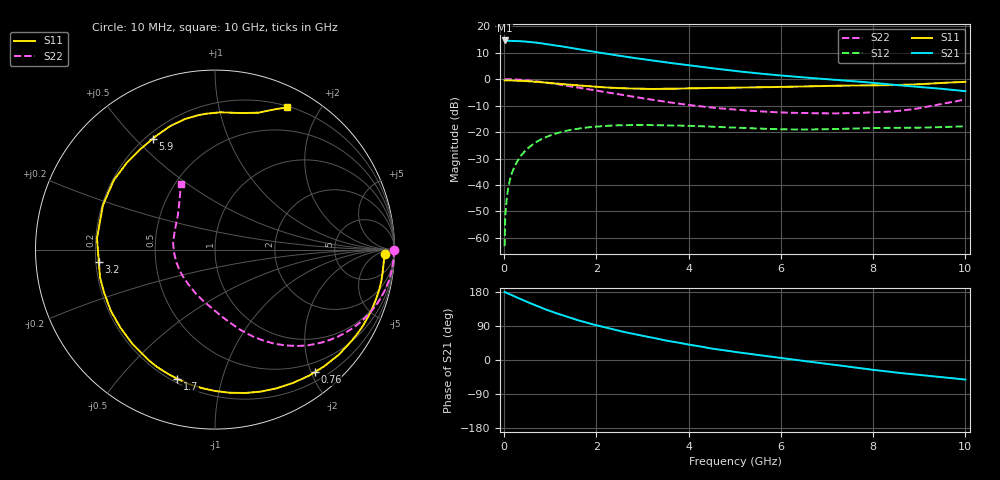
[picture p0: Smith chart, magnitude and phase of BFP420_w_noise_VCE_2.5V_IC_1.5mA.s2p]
! Infineon Technologies  Discrete & RF Semiconductors
! BFP420
! VCE =  2.5 V,  IC =  1.5 mA
! Common Emitter S-Parameters:  Jan 2016
# GHz  S  MA  R  50
!  f  S11  S21  S12  S22
! GHz  MAG  ANG  MAG  ANG  MAG  ANG  MAG  ANG
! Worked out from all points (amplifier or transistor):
!   233 points, 10 MHz to 10 GHz, reference 50 ohm
!   highest |S21| = 14.6 dB at 10 MHz (marker M1)
!   |S21| within 3 dB of that: start of sweep to 1.513 GHz
!   unconditionally stable (mu >= 1): 4.126 GHz to end of sweep
!   at 200 MHz: K = 0.02, MSG = 24.3 dB, |S12| = -34.1 dB
!   at 1.74 GHz: K = 0.32, MSG = 14.7 dB, |S12| = -18.4 dB
!   at 10 GHz: K = 1.27, MAG = 3.5 dB, |S12| = -17.8 dB
!   lowest NFmin = 0.52 dB at 900 MHz
!   S11 on the Smith chart (normalised r, x): 10 MHz: 29, -14; 760 MHz: 0.34, -2.06; 1.7 GHz: 0.22, -0.73; 3.2 GHz: 0.21, -0.05; 5.9 GHz: 0.23, +0.56; 10 GHz: 0.21, +1.61
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0.01  0.9458 -1.5  5.376 179.3  0.0007 103.2  0.9963 0.0
0.02  0.948 -1.2  5.224 179.2  0.002 89.5  0.9964 -0.7
0.05  0.9434 -3.2  5.256 177.3  0.0049 87.1  0.9965 -1.9
0.165  0.9428 -11.1  5.283 171.2  0.0164 83.3  0.9918 -6.4
0.34  0.9319 -23.0  5.213 161.7  0.0333 76.6  0.9753 -12.9
0.5  0.9158 -33.7  5.093 153.2  0.0481 70.4  0.9507 -18.8
0.76  0.8804 -50.8  4.805 140.3  0.0697 60.3  0.8971 -27.7
0.92  0.8566 -61.0  4.598 132.6  0.0812 54.7  0.8595 -32.8
1.2  0.8162 -78.2  4.219 120.4  0.0984 45.5  0.7897 -40.9
1.68  0.752 -105.2  3.604 102.2  0.1187 32.0  0.6748 -52.4
1.7  0.7498 -106.3  3.582 101.5  0.1194 31.5  0.6704 -52.9
1.98  0.7195 -120.3  3.259 92.2  0.1266 24.8  0.6109 -58.5
2.4  0.6835 -140.5  2.853 79.5  0.1338 15.9  0.5303 -66.2
2.78  0.6639 -157.4  2.539 69.2  0.136 8.9  0.4674 -72.6
3.2  0.6509 -174.0  2.251 59.3  0.1354 2.6  0.4096 -79.1
3.4  0.6544 178.3  2.133 54.3  0.1348 -0.2  0.3847 -82.6
4  0.6718 158.4  1.832 40.6  0.1315 -6.9  0.3252 -93.6
5.1  0.6898 133.4  1.398 19.9  0.1208 -14.9  0.262 -115.9
5.9  0.7086 119.3  1.192 7.0  0.1136 -16.8  0.2371 -133.9
6.8  0.7395 105.7  1.029 -7.1  0.1126 -16.8  0.2263 -156.0
8.4  0.7709 81.0  0.789 -31.6  0.12 -20.4  0.2449 156.9
10  0.8888 63.0  0.592 -51.7  0.129 -22.7  0.4127 117.5
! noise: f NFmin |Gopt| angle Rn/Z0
0.9  0.52  0.55  33  0.27
1.8  1.07  0.35  77  0.21
2.4  1.18  0.36  101  0.18
3  1.41  0.36  134  0.13
4  1.68  0.4  -172  0.1
5  2.08  0.44  -130  0.32
6  2.89  0.57  -114  0.39
